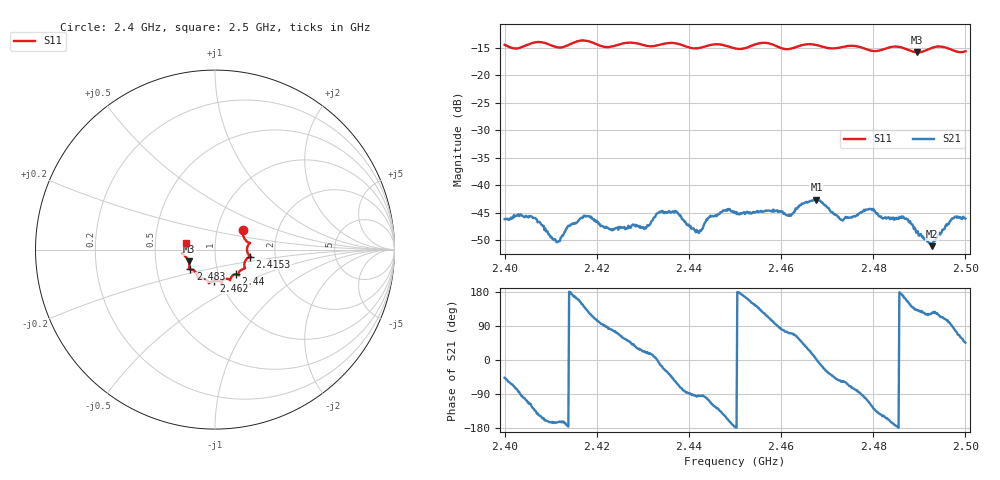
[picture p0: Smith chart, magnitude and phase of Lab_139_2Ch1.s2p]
# Hz S RI R 50
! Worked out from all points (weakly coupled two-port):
!   601 points, 2.4 GHz to 2.5 GHz, reference 50 ohm
!   highest |S21| = -42.61 dB at 2.4677 GHz (marker M1); lowest = -51.1 dB at 2.4927 GHz (marker M2)
!   lowest |S11| = -15.9 dB at 2.4895 GHz (marker M3), VSWR 1.38, Z = 36.9 - j5.02 ohm
!   |S11| at or under -10 dB: start of sweep to end of sweep
!   S12 and S22 are empty: the file has one direction only
!   S11 on the Smith chart (normalised r, x): 2.4 GHz: 1.33, +0.29; 2.4153 GHz: 1.48, -0.12; 2.44 GHz: 1.21, -0.34; 2.462 GHz: 0.93, -0.33; 2.483 GHz: 0.74, -0.17; 2.5 GHz: 0.72, +0.06
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2.4e9  0.1554 0.1067  0.00335 -0.0036  0 0  0 0
2.406167e9  0.1929 0.0377  -0.00304 -0.004  0 0  0 0
2.4115e9  0.1785 0.0066  -0.00294 -0.000851  0 0  0 0
2.415333e9  0.196 -0.0385  -0.00444 0.00101  0 0  0 0
2.416667e9  0.2018 -0.0424  -0.0043 0.00268  0 0  0 0
2.430167e9  0.1512 -0.1107  0.00372 0.00161  0 0  0 0
2.433333e9  0.1311 -0.1336  0.00558 -0.00037  0 0  0 0
2.44e9  0.1142 -0.1368  0.000129 -0.00436  0 0  0 0
2.442333e9  0.0934 -0.1498  -0.000271 -0.00387  0 0  0 0
2.444667e9  0.0849 -0.1676  -0.0019 -0.00494  0 0  0 0
2.45e9  0.0643 -0.1628  -0.0056 -0.000366  0 0  0 0
2.462e9  -0.00497 -0.1733  0.0017 0.00498  0 0  0 0
2.466667e9  -0.0344 -0.1876  0.00694 0.00213  0 0  0 0
2.467667e9  -0.0354 -0.184  0.0074 0.000228  0 0  0 0
2.473167e9  -0.0812 -0.1605  0.00273 -0.00399  0 0  0 0
2.479e9  -0.1031 -0.1341  -0.0021 -0.00569  0 0  0 0
2.483e9  -0.1374 -0.1097  -0.00451 -0.00227  0 0  0 0
2.483333e9  -0.14 -0.1095  -0.00474 -0.00195  0 0  0 0
2.4895e9  -0.1464 -0.0661  -0.00254 0.00281  0 0  0 0
2.492667e9  -0.1737 -0.0296  -0.00155 0.00233  0 0  0 0
2.497333e9  -0.1677 -0.0031  0.000362 0.00498  0 0  0 0
2.5e9  -0.1598 0.0388  0.00346 0.00357  0 0  0 0
